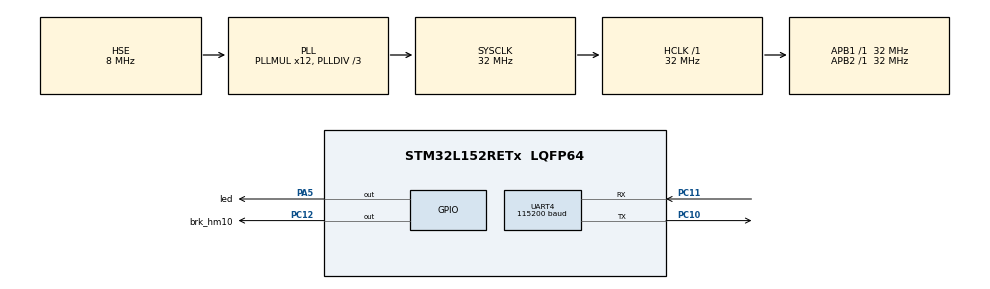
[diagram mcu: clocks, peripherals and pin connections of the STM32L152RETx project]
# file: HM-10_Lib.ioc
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Dma.Request0=UART4_RX
Dma.Request1=UART4_TX
Dma.UART4_RX.0.Direction=DMA_PERIPH_TO_MEMORY
Dma.UART4_RX.0.Instance=DMA2_Channel3
Dma.UART4_RX.0.MemDataAlignment=DMA_MDATAALIGN_BYTE
Dma.UART4_RX.0.MemInc=DMA_MINC_ENABLE
Dma.UART4_RX.0.Mode=DMA_NORMAL
Dma.UART4_RX.0.PeriphDataAlignment=DMA_PDATAALIGN_BYTE
Dma.UART4_RX.0.PeriphInc=DMA_PINC_DISABLE
Dma.UART4_RX.0.Priority=DMA_PRIORITY_VERY_HIGH
Dma.UART4_TX.1.Direction=DMA_MEMORY_TO_PERIPH
Dma.UART4_TX.1.Instance=DMA2_Channel5
Dma.UART4_TX.1.MemDataAlignment=DMA_MDATAALIGN_BYTE
Dma.UART4_TX.1.MemInc=DMA_MINC_ENABLE
Dma.UART4_TX.1.Mode=DMA_NORMAL
Dma.UART4_TX.1.PeriphDataAlignment=DMA_PDATAALIGN_BYTE
Dma.UART4_TX.1.PeriphInc=DMA_PINC_DISABLE
Dma.UART4_TX.1.Priority=DMA_PRIORITY_VERY_HIGH
Mcu.Family=STM32L1
Mcu.Name=STM32L152RETx
Mcu.Package=LQFP64
NVIC.DMA2_Channel3_IRQn=true\:0\:0\:false\:false\:true\:false\:true\:true
NVIC.DMA2_Channel5_IRQn=true\:0\:0\:false\:false\:true\:false\:true\:true
NVIC.PriorityGroup=NVIC_PRIORITYGROUP_4
NVIC.TIM2_IRQn=true\:0\:0\:false\:false\:true\:true\:true\:true
NVIC.UART4_IRQn=true\:0\:0\:false\:false\:true\:true\:true\:true
PA13.Mode=Serial_Wire
PA13.Signal=SYS_JTMS-SWDIO
PA14.Mode=Serial_Wire
PA14.Signal=SYS_JTCK-SWCLK
PA5.GPIO_Label=led
PA5.Signal=GPIO_Output
PC10.Mode=Asynchronous
PC10.Signal=UART4_TX
PC11.Mode=Asynchronous
PC11.Signal=UART4_RX
PC12.GPIO_Label=brk_hm10
PC12.Signal=GPIO_Output
PH0-OSC_IN.Mode=HSE-External-Clock-Source
PH0-OSC_IN.Signal=RCC_OSC_IN
ProjectManager.HeapSize=0x200
ProjectManager.StackSize=0x400
ProjectManager.TargetToolchain=STM32CubeIDE
RCC.48MHZClocksFreq_Value=48000000
RCC.AHBFreq_Value=32000000
RCC.APB1Freq_Value=32000000
RCC.APB1TimFreq_Value=32000000
RCC.APB2Freq_Value=32000000
RCC.APB2TimFreq_Value=32000000
RCC.HCLKFreq_Value=32000000
RCC.HSE_VALUE=8000000
RCC.HSI_VALUE=16000000
RCC.LSE_VALUE=32768
RCC.MSI_VALUE=2097000
RCC.PLLDIV=RCC_PLL_DIV3
RCC.PLLMUL=RCC_PLL_MUL12
RCC.PLLSourceVirtual=RCC_PLLSOURCE_HSE
RCC.SYSCLKFreq_VALUE=32000000
RCC.SYSCLKSource=RCC_SYSCLKSOURCE_PLLCLK
RCC.VCOOutputFreq_Value=96000000
TIM2.Period=65535
TIM2.Prescaler=31
UART4.BaudRate=115200
UART4.Parity=PARITY_NONE
UART4.VirtualMode=Asynchronous
UART4.WordLength=WORDLENGTH_8B
VP_TIM2_VS_ClockSourceINT.Mode=Internal
board=custom

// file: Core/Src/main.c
/* USER CODE BEGIN Header */
/**
  ******************************************************************************
  * @file           : main.c
  * @brief          : Main program body
  ******************************************************************************
  * @attention
  *
  * Copyright (c) 2024 STMicroelectronics.
  * All rights reserved.
  *
  * This software is licensed under terms that can be found in the LICENSE file
  * in the root directory of this software component.
  * If no LICENSE file comes with this software, it is provided AS-IS.
  *
  ******************************************************************************
  */
/* USER CODE END Header */
#include "main.h"

/* USER CODE BEGIN Includes */
#include <string.h>
#include "AT_Command.h"
#include "HM10_Setup.h"
/* USER CODE END Includes */

TIM_HandleTypeDef htim2;

UART_HandleTypeDef huart4;
DMA_HandleTypeDef hdma_uart4_rx;
DMA_HandleTypeDef hdma_uart4_tx;

/* USER CODE BEGIN PV */
char res[21];
/* USER CODE END PV */

void SystemClock_Config(void);
static void MX_GPIO_Init(void);
static void MX_DMA_Init(void);
static void MX_TIM2_Init(void);
static void MX_UART4_Init(void);

int main(void)
{

  /* MCU Configuration--------------------------------------------------------*/

  /* Reset of all peripherals, Initializes the Flash interface and the Systick. */
  HAL_Init();

  /* Configure the system clock */
  SystemClock_Config();

  /* Initialize all configured peripherals */
  MX_GPIO_Init();
  MX_DMA_Init();
  MX_TIM2_Init();
  MX_UART4_Init();
  /* USER CODE BEGIN 2 */
  HAL_TIM_Base_Start(&htim2);

  setupMaster(&huart4, brk_hm10_GPIO_Port, brk_hm10_Pin);
  connectOtherHM10(&huart4);
  char temp[10] = {'\0'};
  char rssi[10] = {'\0'};
  /* USER CODE END 2 */
  /* Infinite loop */
  /* USER CODE BEGIN WHILE */
  while (1)
  {
	  HAL_UART_Transmit(&huart4, (uint8_t*) "from master\r\n", 13, 0xFFFF);
	  HAL_Delay(500);
	  getTemp(&huart4, temp);
	  HAL_Delay(500);
	  getRSSI(&huart4, rssi);
	  HAL_Delay(500);
    /* USER CODE END WHILE */

  }
}

void SystemClock_Config(void)
{
  RCC_OscInitTypeDef RCC_OscInitStruct = {0};
  RCC_ClkInitTypeDef RCC_ClkInitStruct = {0};

  /** Configure the main internal regulator output voltage
  */
  __HAL_PWR_VOLTAGESCALING_CONFIG(PWR_REGULATOR_VOLTAGE_SCALE1);

  /** Initializes the RCC Oscillators according to the specified parameters
  * in the RCC_OscInitTypeDef structure.
  */
  RCC_OscInitStruct.OscillatorType = RCC_OSCILLATORTYPE_HSE;
  RCC_OscInitStruct.HSEState = RCC_HSE_BYPASS;
  RCC_OscInitStruct.PLL.PLLState = RCC_PLL_ON;
  RCC_OscInitStruct.PLL.PLLSource = RCC_PLLSOURCE_HSE;
  RCC_OscInitStruct.PLL.PLLMUL = RCC_PLL_MUL12;
  RCC_OscInitStruct.PLL.PLLDIV = RCC_PLL_DIV3;
  if (HAL_RCC_OscConfig(&RCC_OscInitStruct) != HAL_OK)
  {
    Error_Handler();
  }

  /** Initializes the CPU, AHB and APB buses clocks
  */
  RCC_ClkInitStruct.ClockType = RCC_CLOCKTYPE_HCLK|RCC_CLOCKTYPE_SYSCLK
                              |RCC_CLOCKTYPE_PCLK1|RCC_CLOCKTYPE_PCLK2;
  RCC_ClkInitStruct.SYSCLKSource = RCC_SYSCLKSOURCE_PLLCLK;
  RCC_ClkInitStruct.AHBCLKDivider = RCC_SYSCLK_DIV1;
  RCC_ClkInitStruct.APB1CLKDivider = RCC_HCLK_DIV1;
  RCC_ClkInitStruct.APB2CLKDivider = RCC_HCLK_DIV1;

  if (HAL_RCC_ClockConfig(&RCC_ClkInitStruct, FLASH_LATENCY_1) != HAL_OK)
  {
    Error_Handler();
  }
}

static void MX_TIM2_Init(void)
{

  TIM_ClockConfigTypeDef sClockSourceConfig = {0};
  TIM_MasterConfigTypeDef sMasterConfig = {0};

  htim2.Instance = TIM2;
  htim2.Init.Prescaler = 31;
  htim2.Init.CounterMode = TIM_COUNTERMODE_UP;
  htim2.Init.Period = 65535;
  htim2.Init.ClockDivision = TIM_CLOCKDIVISION_DIV1;
  htim2.Init.AutoReloadPreload = TIM_AUTORELOAD_PRELOAD_DISABLE;
  if (HAL_TIM_Base_Init(&htim2) != HAL_OK)
  {
    Error_Handler();
  }
  sClockSourceConfig.ClockSource = TIM_CLOCKSOURCE_INTERNAL;
  if (HAL_TIM_ConfigClockSource(&htim2, &sClockSourceConfig) != HAL_OK)
  {
    Error_Handler();
  }
  sMasterConfig.MasterOutputTrigger = TIM_TRGO_RESET;
  sMasterConfig.MasterSlaveMode = TIM_MASTERSLAVEMODE_DISABLE;
  if (HAL_TIMEx_MasterConfigSynchronization(&htim2, &sMasterConfig) != HAL_OK)
  {
    Error_Handler();
  }

}

static void MX_UART4_Init(void)
{

  huart4.Instance = UART4;
  huart4.Init.BaudRate = 115200;
  huart4.Init.WordLength = UART_WORDLENGTH_8B;
  huart4.Init.StopBits = UART_STOPBITS_1;
  huart4.Init.Parity = UART_PARITY_NONE;
  huart4.Init.Mode = UART_MODE_TX_RX;
  huart4.Init.HwFlowCtl = UART_HWCONTROL_NONE;
  huart4.Init.OverSampling = UART_OVERSAMPLING_16;
  if (HAL_UART_Init(&huart4) != HAL_OK)
  {
    Error_Handler();
  }

}

static void MX_DMA_Init(void)
{

  /* DMA controller clock enable */
  __HAL_RCC_DMA2_CLK_ENABLE();

  /* DMA interrupt init */
  /* DMA2_Channel3_IRQn interrupt configuration */
  HAL_NVIC_SetPriority(DMA2_Channel3_IRQn, 0, 0);
  HAL_NVIC_EnableIRQ(DMA2_Channel3_IRQn);
  /* DMA2_Channel5_IRQn interrupt configuration */
  HAL_NVIC_SetPriority(DMA2_Channel5_IRQn, 0, 0);
  HAL_NVIC_EnableIRQ(DMA2_Channel5_IRQn);

}

static void MX_GPIO_Init(void)
{
  GPIO_InitTypeDef GPIO_InitStruct = {0};

  /* GPIO Ports Clock Enable */
  __HAL_RCC_GPIOH_CLK_ENABLE();
  __HAL_RCC_GPIOA_CLK_ENABLE();
  __HAL_RCC_GPIOC_CLK_ENABLE();

  /*Configure GPIO pin Output Level */
  HAL_GPIO_WritePin(led_GPIO_Port, led_Pin, GPIO_PIN_RESET);

  /*Configure GPIO pin Output Level */
  HAL_GPIO_WritePin(brk_hm10_GPIO_Port, brk_hm10_Pin, GPIO_PIN_RESET);

  /*Configure GPIO pin : led_Pin */
  GPIO_InitStruct.Pin = led_Pin;
  GPIO_InitStruct.Mode = GPIO_MODE_OUTPUT_PP;
  GPIO_InitStruct.Pull = GPIO_NOPULL;
  GPIO_InitStruct.Speed = GPIO_SPEED_FREQ_LOW;
  HAL_GPIO_Init(led_GPIO_Port, &GPIO_InitStruct);

  /*Configure GPIO pin : brk_hm10_Pin */
  GPIO_InitStruct.Pin = brk_hm10_Pin;
  GPIO_InitStruct.Mode = GPIO_MODE_OUTPUT_PP;
  GPIO_InitStruct.Pull = GPIO_NOPULL;
  GPIO_InitStruct.Speed = GPIO_SPEED_FREQ_LOW;
  HAL_GPIO_Init(brk_hm10_GPIO_Port, &GPIO_InitStruct);

}

void Error_Handler(void)
{
  __disable_irq();
  while (1)
  {
  }
}
